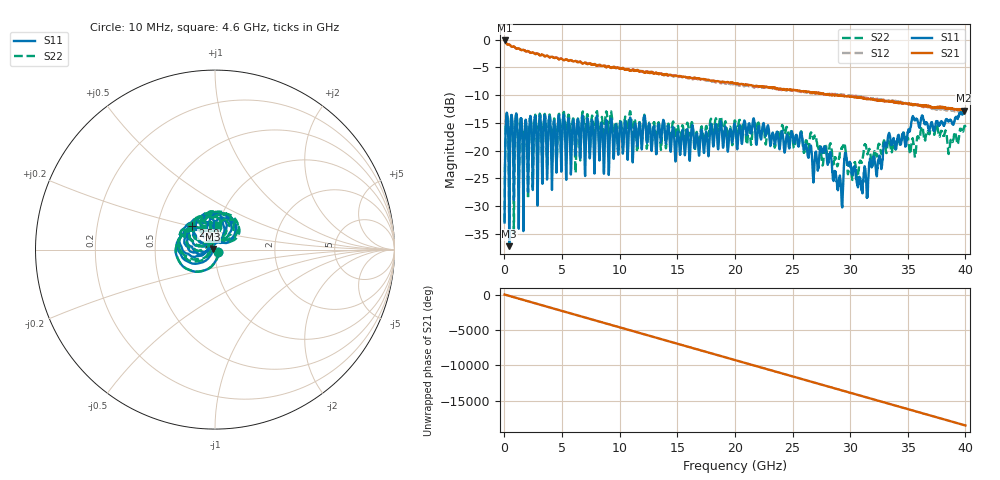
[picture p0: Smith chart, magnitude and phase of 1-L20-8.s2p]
! 2/21/2025 7:07:05 AM
! Z:\OQC\AD5\613\LOT-141-0825\SINGLE\1-L20-8.S2P
! CHANNEL.1
! TR.MEASUREMENT
! CORRECTED.DATA
! RF.CORRECTION: FULL.FOUR.PORT.CAL.PORT.1.2.3.4
! AVERAGING.OFF
! IF.BANDWIDTH: 1KHZ
! SWEEPTYPE:  FREQ.SWEEP(Linear)
! Reference Plane Port Info
! PORT:  PORT1  PORT2
! DISTANCE:  0  m  0  m
! TIME:  0  s  0  s
! PHASE.OFFSET:  0 °  0 °
! LOSS:  0  dB  0  dB
! REF.LOSS:  0  dB  0  dB
! REF.FREQ:  0  Hz  0  Hz
! Power Info
! POWER:  -10  dBm  -10  dBm
! EFF.POWER:  -10  dBm  -10  dBm
! SOURCE.ATTEN:  0  dB  0  dB
! TEST.ATTEN:  0  dB  0  dB
# GHZ S RI R 50.0
! FREQ.GHZ  S11RE  S11IM  S21RE  S21IM  S12RE  S12IM  S22RE  S22IM
!; PortSelection: Port_12
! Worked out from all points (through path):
!   4000 points, 10 MHz to 40 GHz, reference 50 ohm
!   highest |S21| = -0.17 dB at 10 MHz (marker M1); lowest = -12.8 dB at 39.86 GHz (marker M2)
!   group delay of S21, straight-line fit = 1.28 ns
!   lowest |S11| = -37.2 dB at 410 MHz (marker M3), VSWR 1.03, Z = 48.7 + j0.314 ohm
!   |S11| at or under -10 dB: start of sweep to end of sweep
!   |S22| runs from -35.0 to -12.9 dB; largest |S21 - S12| = 0.018
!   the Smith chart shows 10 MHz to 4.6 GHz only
!   S11 on the Smith chart (normalised r, x): 10 MHz: 1.03, -0.03; 2.59 GHz: 0.75, +0.20; 4.6 GHz: 0.97, +0.27
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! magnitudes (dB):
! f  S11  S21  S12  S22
! 10 MHz  -33.0  -0.2  -0.2  -32.9
! 180 MHz  -13.4  -0.8  -0.8  -13.4
! 410 MHz  -37.2  -0.9  -0.9  -32.4
! 2.59 GHz  -14.9  -2.5  -2.5  -14.7
! 4.6 GHz  -17.2  -3.4  -3.3  -17.1
! 6.68 GHz  -15.6  -4.2  -4.1  -15.2
! 13.34 GHz  -15.6  -6.2  -6.2  -15.2
! 16.66 GHz  -17.1  -7.0  -7.0  -17.1
! 20.01 GHz  -15.5  -7.9  -8.2  -14.7
! 25.74 GHz  -16.6  -9.3  -9.5  -16.6
! 26.67 GHz  -20.5  -9.5  -9.6  -16.8
! 27.77 GHz  -19.3  -9.9  -10.0  -19.5
! 29.18 GHz  -25.7  -10.1  -10.0  -20.1
! 29.68 GHz  -21.1  -10.2  -10.1  -21.5
! 30.94 GHz  -26.3  -10.5  -10.4  -22.0
! 33.34 GHz  -17.1  -11.2  -11.0  -17.9
! 34.84 GHz  -19.0  -11.5  -11.5  -18.2
! 35.55 GHz  -14.3  -11.8  -11.9  -20.0
! 37.08 GHz  -14.9  -12.2  -12.3  -15.3
! 38.64 GHz  -14.5  -12.4  -12.6  -19.4
! 39.86 GHz  -13.0  -12.8  -13.0  -16.0
! 40 GHz  -12.6  -12.7  -13.1  -15.8
